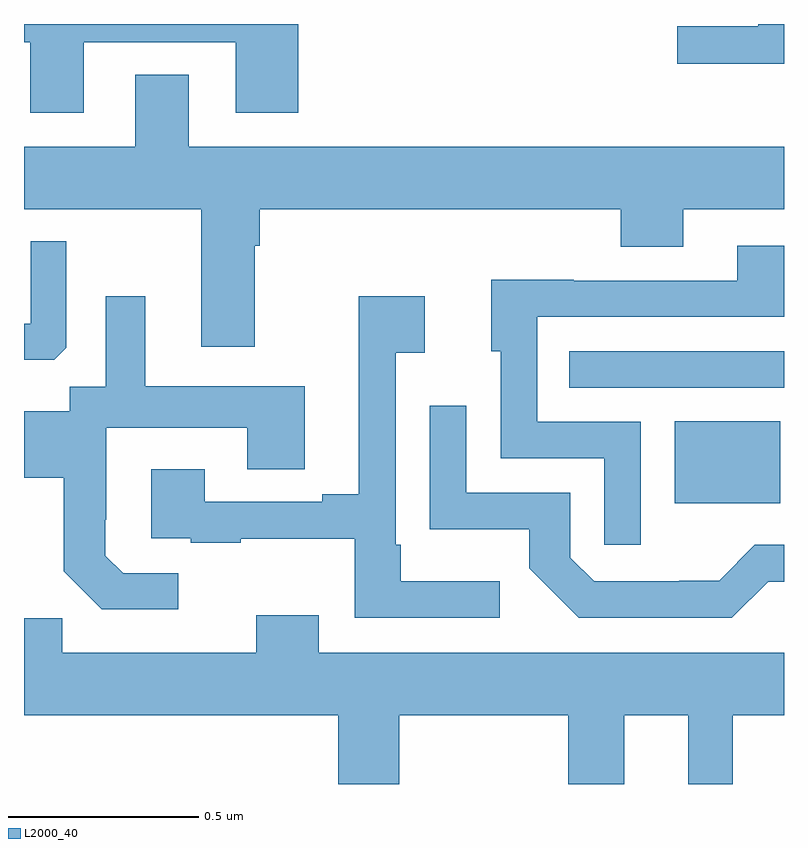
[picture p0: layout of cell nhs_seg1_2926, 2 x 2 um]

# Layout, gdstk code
import gdstk
lib = gdstk.Library(unit=1e-6, precision=1e-09)
def R(c, l, rs):  # rectangles x0, y0, x1, y1
    for r in rs: c.add(gdstk.rectangle(r[:2], r[2:], *l))
def P(c, l, *ps):  # polygons
    for p in ps: c.add(gdstk.Polygon(p, *l))
L2000_40 = (2000, 40)

nhs_seg1_2926 = lib.new_cell('nhs_seg1_2926')
R(nhs_seg1_2926, L2000_40, [(148.712,570.938,148.99,571.153), (148.435,571.242,149,571.338)])
P(nhs_seg1_2926, L2000_40, [(149,572.199),(148.932,572.199),(148.932,572.193),(148.719,572.193),(148.719,572.095),(149,572.095)],
  [(147.157,572.151),(147.557,572.151),(147.557,571.965),(147.722,571.965),(147.722,572.199),(147,572.199),(147,572.151),(147.017,572.151),(147.017,571.965),(147.157,571.965)],
  [(147.607,571.616),(147.62,571.616),(147.62,571.712),(148.571,571.712),(148.571,571.613),(148.735,571.613),(148.735,571.712),(149,571.712),(149,571.876),(147.433,571.876),(147.433,572.066),(147.293,572.066),(147.293,571.876),(147,571.876),(147,571.712),(147.467,571.712),(147.467,571.35),(147.607,571.35)],
  [(147.111,571.347),(147.111,571.627),(147.018,571.627),(147.018,571.41),(147,571.41),(147,571.316),(147.079,571.316)],
  [(148.623,571.152),(148.35,571.152),(148.35,571.428),(149,571.428),(149,571.615),(148.877,571.615),(148.877,571.524),(148.447,571.524),(148.447,571.526),(148.229,571.526),(148.229,571.338),(148.254,571.338),(148.254,571.056),(148.527,571.056),(148.527,570.828),(148.623,570.828)],
  [(148.252,570.733),(147.991,570.733),(147.991,570.829),(147.978,570.829),(147.978,571.334),(148.054,571.334),(148.054,571.483),(147.881,571.483),(147.881,570.961),(147.785,570.961),(147.785,570.942),(147.475,570.942),(147.475,571.027),(147.335,571.027),(147.335,570.846),(147.439,570.846),(147.439,570.834),(147.571,570.834),(147.571,570.845),(147.87,570.845),(147.87,570.636),(148.252,570.636)],
  [(147.406,570.753),(147.261,570.753),(147.214,570.8),(147.214,570.895),(147.216,570.895),(147.216,571.136),(147.587,571.136),(147.587,571.027),(147.739,571.027),(147.739,571.246),(147.319,571.246),(147.319,571.483),(147.215,571.483),(147.215,571.244),(147.12,571.244),(147.12,571.18),(147,571.18),(147,571.005),(147.105,571.005),(147.105,570.759),(147.205,570.659),(147.406,570.659)],
  [(148.958,570.731),(149,570.731),(149,570.828),(148.923,570.828),(148.829,570.734),(148.724,570.734),(148.724,570.732),(148.5,570.732),(148.437,570.795),(148.437,570.966),(148.164,570.966),(148.164,571.195),(148.068,571.195),(148.068,570.869),(148.33,570.869),(148.33,570.767),(148.46,570.636),(148.863,570.636)],
  [(147.987,570.38),(148.432,570.38),(148.432,570.199),(148.579,570.199),(148.579,570.38),(148.748,570.38),(148.748,570.199),(148.865,570.199),(148.865,570.38),(149,570.38),(149,570.544),(147.775,570.544),(147.775,570.643),(147.611,570.643),(147.611,570.544),(147.101,570.544),(147.101,570.635),(147,570.635),(147,570.38),(147.827,570.38),(147.827,570.199),(147.987,570.199)])

lib.write_gds('nhs_seg1_2926.gds')
